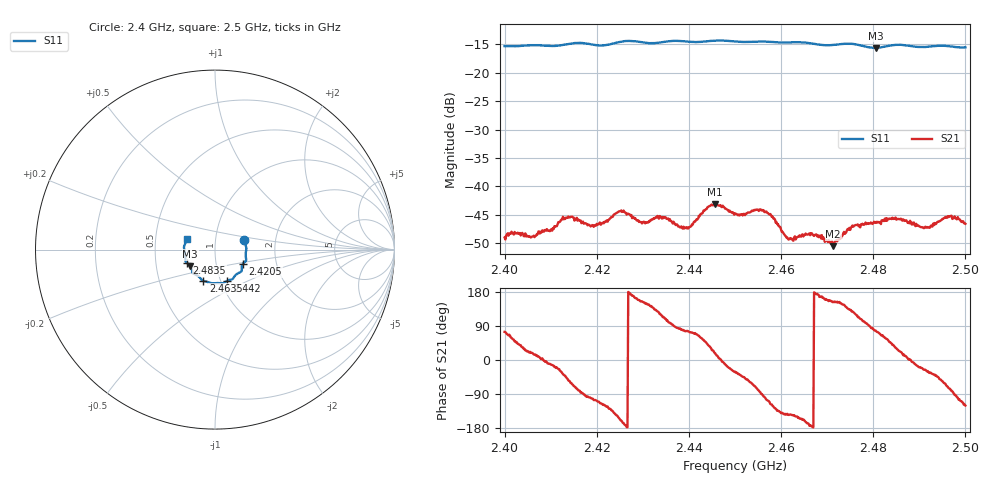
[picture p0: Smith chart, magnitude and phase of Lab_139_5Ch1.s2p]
# Hz S RI R 50
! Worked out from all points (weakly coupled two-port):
!   601 points, 2.4 GHz to 2.5 GHz, reference 50 ohm
!   highest |S21| = -43.12 dB at 2.4457 GHz (marker M1); lowest = -50.5 dB at 2.4713 GHz (marker M2)
!   lowest |S11| = -15.6 dB at 2.4805 GHz (marker M3), VSWR 1.40, Z = 37.3 - j7.1 ohm
!   |S11| at or under -10 dB: start of sweep to end of sweep
!   S12 and S22 are empty: the file has one direction only
!   S11 on the Smith chart (normalised r, x): 2.4 GHz: 1.38, +0.15; 2.4205 GHz: 1.35, -0.22; 2.442 GHz: 1.08, -0.39; 2.4635 GHz: 0.83, -0.30; 2.4835 GHz: 0.72, -0.11; 2.5 GHz: 0.72, +0.09
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2.4e9  0.1638 0.0518  0.000969 0.00341  0 0  0 0
2.406167e9  0.1745 0.00922  0.00349 0.00106  0 0  0 0
2.413833e9  0.1729 -0.0486  0.00319 -0.00439  0 0  0 0
2.416667e9  0.1721 -0.0624  0.000365 -0.00474  0 0  0 0
2.4205e9  0.155 -0.0797  -0.00163 -0.00438  0 0  0 0
2.425333e9  0.1489 -0.115  -0.00576 -0.00212  0 0  0 0
2.43e9  0.1315 -0.1302  -0.00431 0.00218  0 0  0 0
2.433333e9  0.1091 -0.1479  -0.00326 0.00428  0 0  0 0
2.4395e9  0.0866 -0.1675  0.00101 0.00416  0 0  0 0
2.442e9  0.0691 -0.1735  0.00224 0.00471  0 0  0 0
2.445667e9  0.0486 -0.1859  0.00663 0.00217  0 0  0 0
2.45e9  0.0265 -0.1868  0.00498 -0.00296  0 0  0 0
2.455833e9  -0.0142 -0.1879  9.41e-06 -0.00621  0 0  0 0
2.461333e9  -0.0525 -0.1773  -0.0028 -0.00219  0 0  0 0
2.4635e9  -0.0656 -0.174  -0.00307 -0.00182  0 0  0 0
2.466667e9  -0.0776 -0.1641  -0.00385 -0.000285  0 0  0 0
2.471333e9  -0.1067 -0.1398  -0.00267 0.00133  0 0  0 0
2.475833e9  -0.1262 -0.1271  -0.00255 0.00369  0 0  0 0
2.4805e9  -0.1377 -0.0925  0.000998 0.00467  0 0  0 0
2.483333e9  -0.1555 -0.075  0.00331 0.00399  0 0  0 0
2.4835e9  -0.1566 -0.0743  0.00347 0.00382  0 0  0 0
2.5e9  -0.1567 0.0592  -0.00235 -0.00406  0 0  0 0
